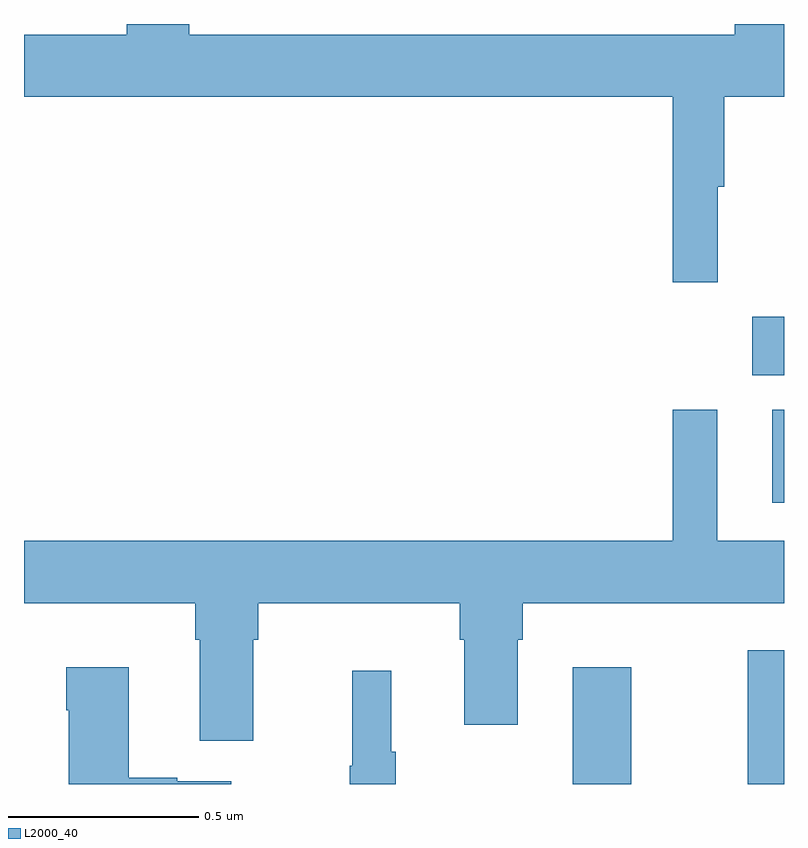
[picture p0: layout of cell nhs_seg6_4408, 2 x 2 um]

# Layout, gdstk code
import gdstk
lib = gdstk.Library(unit=1e-6, precision=1e-09)
def R(c, l, rs):  # rectangles x0, y0, x1, y1
    for r in rs: c.add(gdstk.rectangle(r[:2], r[2:], *l))
def P(c, l, *ps):  # polygons
    for p in ps: c.add(gdstk.Polygon(p, *l))
L2000_40 = (2000, 40)

nhs_seg6_4408 = lib.new_cell('nhs_seg6_4408')
R(nhs_seg6_4408, L2000_40, [(170.444,973.5,170.598,973.807), (170.905,973.5,171,973.852), (170.969,974.24,171,974.485), (170.916,974.576,171,974.729)])
P(nhs_seg6_4408, L2000_40, [(170.825,975.072),(170.843,975.072),(170.843,975.308),(171,975.308),(171,975.5),(170.87,975.5),(170.87,975.472),(169.435,975.472),(169.435,975.5),(169.271,975.5),(169.271,975.472),(169,975.472),(169,975.308),(170.707,975.308),(170.707,974.82),(170.825,974.82)],
  [(169.603,973.88),(169.616,973.88),(169.616,973.976),(170.147,973.976),(170.147,973.88),(170.159,973.88),(170.159,973.656),(170.299,973.656),(170.299,973.88),(170.312,973.88),(170.312,973.976),(171,973.976),(171,974.14),(170.824,974.14),(170.824,974.485),(170.707,974.485),(170.707,974.14),(169,974.14),(169,973.976),(169.451,973.976),(169.451,973.88),(169.463,973.88),(169.463,973.614),(169.603,973.614)],
  [(169.546,973.507),(169.403,973.507),(169.403,973.517),(169.276,973.517),(169.276,973.807),(169.111,973.807),(169.111,973.694),(169.118,973.694),(169.118,973.5),(169.546,973.5)],
  [(169.978,973.585),(169.967,973.585),(169.967,973.798),(169.864,973.798),(169.864,973.548),(169.857,973.548),(169.857,973.5),(169.978,973.5)])

lib.write_gds('nhs_seg6_4408.gds')
